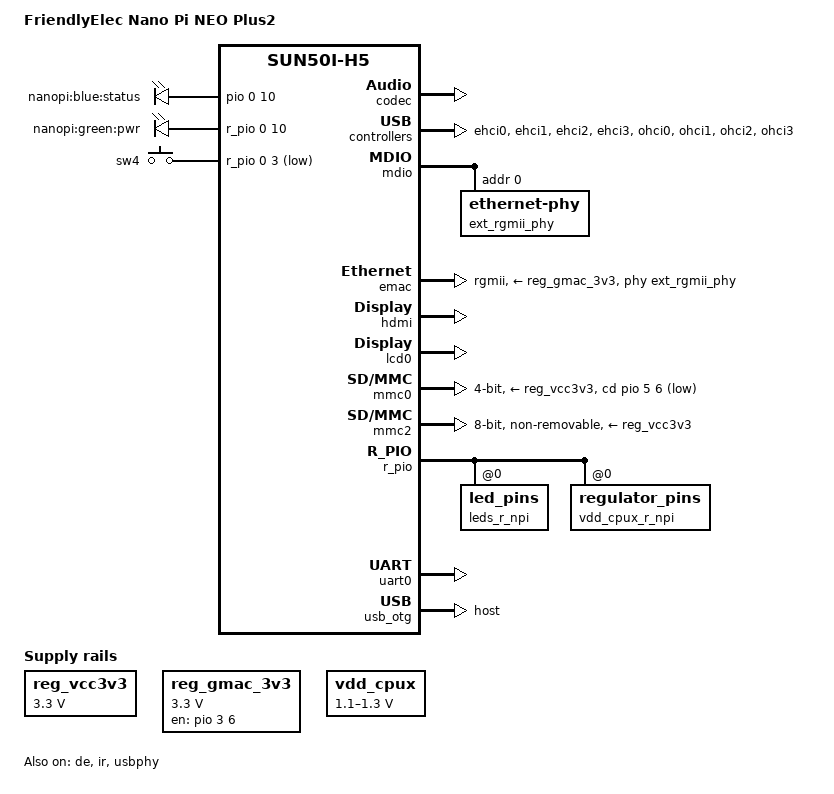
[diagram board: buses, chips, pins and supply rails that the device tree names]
/*
 * Copyright (C) 2016 ARM Ltd.
 *
 * This file is dual-licensed: you can use it either under the terms
 * of the GPL or the X11 license, at your option. Note that this dual
 * licensing only applies to this file, and not this project as a
 * whole.
 *
 *  a) This file is free software; you can redistribute it and/or
 *     modify it under the terms of the GNU General Public License as
 *     published by the Free Software Foundation; either version 2 of the
 *     License, or (at your option) any later version.
 *
 *     This file is distributed in the hope that it will be useful,
 *     but WITHOUT ANY WARRANTY; without even the implied warranty of
 *     MERCHANTABILITY or FITNESS FOR A PARTICULAR PURPOSE.  See the
 *     GNU General Public License for more details.
 *
 * Or, alternatively,
 *
 *  b) Permission is hereby granted, free of charge, to any person
 *     obtaining a copy of this software and associated documentation
 *     files (the "Software"), to deal in the Software without
 *     restriction, including without limitation the rights to use,
 *     copy, modify, merge, publish, distribute, sublicense, and/or
 *     sell copies of the Software, and to permit persons to whom the
 *     Software is furnished to do so, subject to the following
 *     conditions:
 *
 *     The above copyright notice and this permission notice shall be
 *     included in all copies or substantial portions of the Software.
 *
 *     THE SOFTWARE IS PROVIDED "AS IS", WITHOUT WARRANTY OF ANY KIND,
 *     EXPRESS OR IMPLIED, INCLUDING BUT NOT LIMITED TO THE WARRANTIES
 *     OF MERCHANTABILITY, FITNESS FOR A PARTICULAR PURPOSE AND
 *     NONINFRINGEMENT. IN NO EVENT SHALL THE AUTHORS OR COPYRIGHT
 *     HOLDERS BE LIABLE FOR ANY CLAIM, DAMAGES OR OTHER LIABILITY,
 *     WHETHER IN AN ACTION OF CONTRACT, TORT OR OTHERWISE, ARISING
 *     FROM, OUT OF OR IN CONNECTION WITH THE SOFTWARE OR THE USE OR
 *     OTHER DEALINGS IN THE SOFTWARE.
 */

/dts-v1/;
#include "sun50i-h5.dtsi"

#include <dt-bindings/gpio/gpio.h>
#include <dt-bindings/input/input.h>
#include <dt-bindings/pinctrl/sun4i-a10.h>
#include <dt-bindings/thermal/thermal.h>

/ {
	model = "FriendlyElec Nano Pi NEO Plus2";
	compatible = "friendlyelec,nanopi-neo-plus2", "allwinner,sun50i-h5";

	reg_vcc3v3: vcc3v3 {
		compatible = "regulator-fixed";
		regulator-name = "vcc3v3";
		regulator-min-microvolt = <3300000>;
		regulator-max-microvolt = <3300000>;
	};

	aliases {
		serial0 = &uart0;
		ethernet0 = &emac;
	};

	chosen {
		stdout-path = "serial0:115200n8";
	};

	leds {
		compatible = "gpio-leds";
		pinctrl-names = "default";
		pinctrl-0 = <&leds_npi>, <&leds_r_npi>;

		status {
			label = "nanopi:blue:status";
			gpios = <&pio 0 10 GPIO_ACTIVE_HIGH>;
			linux,default-trigger = "heartbeat";
		};

		pwr {
			label = "nanopi:green:pwr";
			gpios = <&r_pio 0 10 GPIO_ACTIVE_HIGH>;
			default-state = "on";
		};
	};

	r-gpio-keys {
		compatible = "gpio-keys";

		sw4 {
			label = "sw4";
			linux,code = <BTN_0>;
			gpios = <&r_pio 0 3 GPIO_ACTIVE_LOW>;
		};
	};

	reg_gmac_3v3: gmac-3v3 {
		compatible = "regulator-fixed";
		pinctrl-names = "default";
		pinctrl-0 = <&gmac_power_pin_nanopi>;
		regulator-name = "gmac-3v3";
		regulator-min-microvolt = <3300000>;
		regulator-max-microvolt = <3300000>;
		startup-delay-us = <100000>;
		enable-active-high;
		gpio = <&pio 3 6 GPIO_ACTIVE_HIGH>;
	};

	vdd_cpux: gpio-regulator {
		compatible = "regulator-gpio";

		pinctrl-names = "default";
		pinctrl-0 = <&vdd_cpux_r_npi>;

		regulator-name = "vdd-cpux";
		regulator-type = "voltage";
		regulator-boot-on;
		regulator-always-on;
		regulator-min-microvolt = <1100000>;
		regulator-max-microvolt = <1300000>;
		regulator-ramp-delay = <50>; /* 4ms */

		gpios = <&r_pio 0 6 GPIO_ACTIVE_HIGH>;
		gpios-states = <0x1>;
		states = <1100000 0x0
			  1300000 0x1>;
	};
};

&cpu0 {
	operating-points = <
		1248000 1300000
		1008000	1100000
		816000	1100000
		624000	1100000
		480000	1100000
		312000	1100000
		240000	1100000
		120000	1100000
		>;
	#cooling-cells = <2>;
	cooling-min-level = <0>;
	cooling-max-level = <7>;
	cpu0-supply = <&vdd_cpux>;
};

&cpu_thermal {
	trips {
		cpu_warm: cpu_warm {
			temperature = <65000>;
			hysteresis = <2000>;
			type = "passive";
		};
		cpu_hot: cpu_hot {
			temperature = <75000>;
			hysteresis = <2000>;
			type = "passive";
		};
		cpu_very_hot: cpu_very_hot {
			temperature = <90000>;
			hysteresis = <2000>;
			type = "passive";
		};
		cpu_crit: cpu_crit {
			temperature = <105000>;
			hysteresis = <2000>;
			type = "critical";
		};
	};

	cooling-maps {
		cpu_warm_limit_cpu {
			trip = <&cpu_warm>;
			cooling-device = <&cpu0 THERMAL_NO_LIMIT 1>;
		};
		cpu_hot_limit_cpu {
			trip = <&cpu_hot>;
			cooling-device = <&cpu0 2 3>;
		};
		cpu_very_hot_limit_cpu {
			trip = <&cpu_very_hot>;
			cooling-device = <&cpu0 5 THERMAL_NO_LIMIT>;
		};
	};
};

&codec {
	allwinner,audio-routing =
		"Line Out", "LINEOUT",
		"MIC1", "Mic",
		"Mic",  "MBIAS";
	status = "okay";
};

&de {
	status = "okay";
};

&ehci0 {
	status = "okay";
};

&ehci1 {
	status = "okay";
};

&ehci2 {
	status = "okay";
};

&ehci3 {
	status = "okay";
};

&mdio {
	ext_rgmii_phy: ethernet-phy@1 {
		reg = <0>;
	};
};

&emac {
	pinctrl-names = "default";
	pinctrl-0 = <&emac_rgmii_pins>;
	phy-supply = <&reg_gmac_3v3>;
	phy-handle = <&ext_rgmii_phy>;
	phy-mode = "rgmii";

	allwinner,leds-active-low;
	status = "okay";
};

&hdmi {
	status = "okay";
};

&ir {
	pinctrl-names = "default";
	pinctrl-0 = <&ir_pins_a>;
	status = "okay";
};

&lcd0 {
	status = "okay";
};

&mmc0 {
	pinctrl-names = "default";
	pinctrl-0 = <&mmc0_pins_a>, <&mmc0_cd_pin>;
	vmmc-supply = <&reg_vcc3v3>;
	bus-width = <4>;
	cd-gpios = <&pio 5 6 GPIO_ACTIVE_LOW>; /* PF6 */
	boot_device = <0>;
	status = "okay";
};

&mmc1 {
    boot_device = <0>;
};

&mmc2 {
    pinctrl-names = "default";
    pinctrl-0 = <&mmc2_8bit_pins>;
    vmmc-supply = <&reg_vcc3v3>;
    bus-width = <8>;
    non-removable;
    cap-mmc-hw-reset;
    boot_device = <0>;
    status = "okay";
};

&mmc2_8bit_pins {
    /* Increase drive strength for DDR modes */
    drive-strength = <40>;
    /* eMMC is missing pull-ups */
    bias-pull-up;
};

&ohci0 {
	status = "okay";
};

&ohci1 {
	status = "okay";
};

&ohci2 {
	status = "okay";
};

&ohci3 {
	status = "okay";
};

&pio {
	leds_npi: led_pins@0 {
		pins = "PA10";
		function = "gpio_out";
	};

	gmac_power_pin_nanopi: gmac_power_pin@0 {
		pins = "PD6";
		function = "gpio_out";
	};
};

&r_pio {
	leds_r_npi: led_pins@0 {
		pins = "PL10";
		function = "gpio_out";
	};
	vdd_cpux_r_npi: regulator_pins@0 {
		allwinner,pins = "PL6";
		allwinner,function = "gpio_out";
		allwinner,drive = <SUN4I_PINCTRL_10_MA>;
		allwinner,pull = <SUN4I_PINCTRL_NO_PULL>;
	};
};

&uart0 {
	pinctrl-names = "default";
	pinctrl-0 = <&uart0_pins_a>;
	status = "okay";
};

&uart1 {
	pinctrl-names = "default";
	pinctrl-0 = <&uart1_pins>;
	status = "disabled";
};

&uart2 {
	pinctrl-names = "default";
	pinctrl-0 = <&uart2_pins>;
	status = "disabled";
};

&usb_otg {
	dr_mode = "host";
	status = "okay";
};

&usbphy {
	usb0_id_det-gpios = <&pio 6 12 GPIO_ACTIVE_HIGH>; /* PG12 */
	status = "okay";
};
